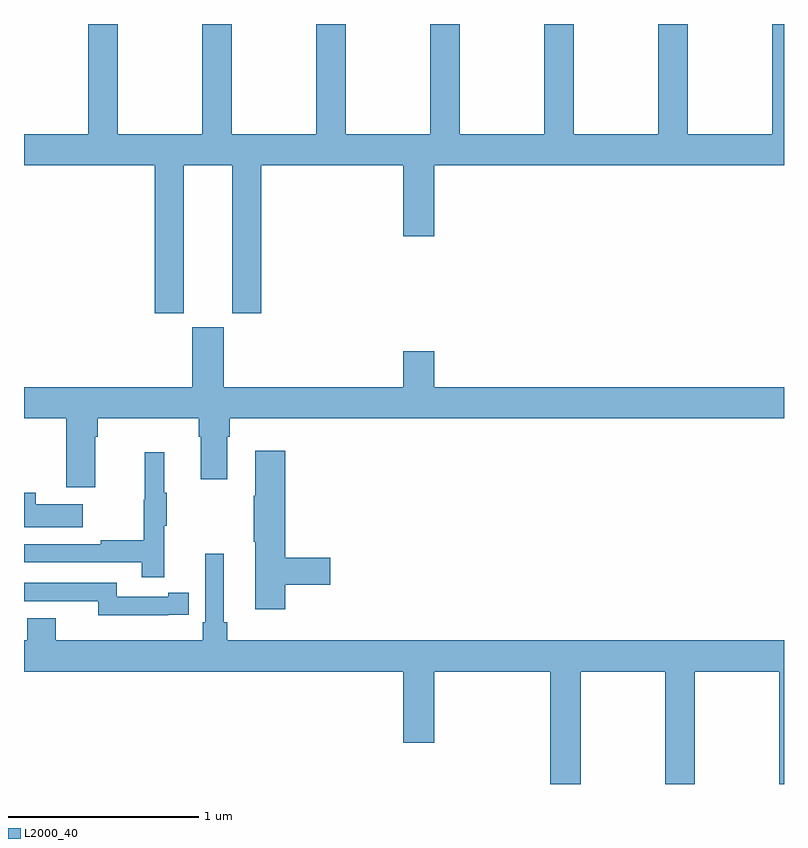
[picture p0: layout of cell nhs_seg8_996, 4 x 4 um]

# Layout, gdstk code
import gdstk
lib = gdstk.Library(unit=1e-6, precision=1e-09)
def P(c, l, *ps):  # polygons
    for p in ps: c.add(gdstk.Polygon(p, *l))
L2000_40 = (2000, 40)

nhs_seg8_996 = lib.new_cell('nhs_seg8_996')
P(nhs_seg8_996, L2000_40, [(176.996,1126.782),(177.16,1126.782),(177.16,1127.156),(179,1127.156),(179,1127.9),(178.939,1127.9),(178.939,1127.32),(178.494,1127.32),(178.494,1127.9),(178.339,1127.9),(178.339,1127.32),(177.894,1127.32),(177.894,1127.9),(177.739,1127.9),(177.739,1127.32),(177.294,1127.32),(177.294,1127.9),(177.139,1127.9),(177.139,1127.32),(176.694,1127.32),(176.694,1127.9),(176.539,1127.9),(176.539,1127.32),(176.094,1127.32),(176.094,1127.9),(175.939,1127.9),(175.939,1127.32),(175.494,1127.32),(175.494,1127.9),(175.339,1127.9),(175.339,1127.32),(175,1127.32),(175,1127.156),(175.688,1127.156),(175.688,1126.377),(175.84,1126.377),(175.84,1127.156),(176.096,1127.156),(176.096,1126.377),(176.249,1126.377),(176.249,1127.156),(176.996,1127.156)],
  [(175.375,1125.728),(175.388,1125.728),(175.388,1125.824),(175.919,1125.824),(175.919,1125.728),(175.931,1125.728),(175.931,1125.504),(176.071,1125.504),(176.071,1125.728),(176.084,1125.728),(176.084,1125.824),(179,1125.824),(179,1125.988),(177.16,1125.988),(177.16,1126.177),(176.996,1126.177),(176.996,1125.988),(176.05,1125.988),(176.05,1126.305),(175.886,1126.305),(175.886,1125.988),(175,1125.988),(175,1125.824),(175.223,1125.824),(175.223,1125.462),(175.375,1125.462)],
  [(176.375,1124.95),(176.611,1124.95),(176.611,1125.092),(176.375,1125.092),(176.375,1125.655),(176.216,1125.655),(176.216,1125.416),(176.209,1125.416),(176.209,1125.175),(176.216,1125.175),(176.216,1124.82),(176.375,1124.82)],
  [(175.739,1125.259),(175.75,1125.259),(175.75,1125.433),(175.739,1125.433),(175.739,1125.646),(175.636,1125.646),(175.636,1125.396),(175.629,1125.396),(175.629,1125.182),(175.405,1125.182),(175.405,1125.162),(175,1125.162),(175,1125.066),(175.621,1125.066),(175.621,1124.988),(175.739,1124.988)],
  [(175.309,1125.373),(175.061,1125.373),(175.061,1125.433),(175,1125.433),(175,1125.251),(175.309,1125.251)],
  [(175.76,1124.79),(175.868,1124.79),(175.868,1124.906),(175.76,1124.906),(175.76,1124.886),(175.488,1124.886),(175.488,1124.958),(175,1124.958),(175,1124.862),(175.392,1124.862),(175.392,1124.789),(175.76,1124.789)],
  [(176.069,1124.752),(176.05,1124.752),(176.05,1125.112),(175.953,1125.112),(175.953,1124.752),(175.94,1124.752),(175.94,1124.656),(175.168,1124.656),(175.168,1124.773),(175.016,1124.773),(175.016,1124.656),(175,1124.656),(175,1124.492),(176.996,1124.492),(176.996,1124.118),(177.16,1124.118),(177.16,1124.492),(177.77,1124.492),(177.77,1123.9),(177.93,1123.9),(177.93,1124.492),(178.375,1124.492),(178.375,1123.9),(178.53,1123.9),(178.53,1124.492),(178.975,1124.492),(178.975,1123.9),(179,1123.9),(179,1124.656),(176.069,1124.656)])

lib.write_gds('nhs_seg8_996.gds')
